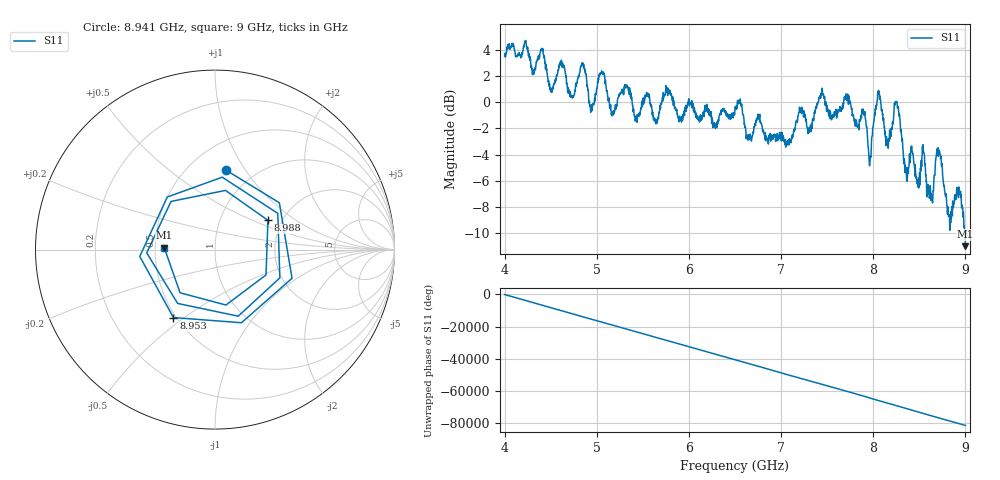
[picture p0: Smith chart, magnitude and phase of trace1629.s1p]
! Created with skrf 1.8.0 (http://scikit-rf.org).
# Hz S RI R 50.0
!freq ReS11 ImS11
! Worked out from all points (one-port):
!   1601 points, 4 GHz to 9 GHz, reference 50 ohm
!   lowest |S11| = -11.0 dB at 9 GHz (marker M1), VSWR 1.79, Z = 28 + j0.642 ohm
!   |S11| at or under -10 dB: 8.992355 GHz to end of sweep
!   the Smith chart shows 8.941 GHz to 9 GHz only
!   S11 on the Smith chart (normalised r, x): 8.941 GHz: 0.74, +0.82; 8.953 GHz: 0.48, -0.46; 8.988 GHz: 1.69, +0.62; 9 GHz: 0.56, +0.01
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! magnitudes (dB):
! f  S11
! 4 GHz  3.5
! 4.406 GHz  4.0
! 4.506 GHz  0.9
! 4.625 GHz  2.7
! 4.734 GHz  0.3
! 4.85 GHz  2.9
! 4.941 GHz  -0.2
! 5.053 GHz  2.4
! 5.162 GHz  -0.8
! 5.25 GHz  0.6
! 5.875 GHz  -0.9
! 6.5 GHz  -0.4
! 7.125 GHz  -2.7
! 7.434 GHz  0.7
! 7.75 GHz  0.0
! 7.962 GHz  -4.8
! 8.053 GHz  0.6
! 8.15 GHz  -3.1
! 8.253 GHz  0.0
! 8.375 GHz  -5.0
! 8.544 GHz  -3.7
! 8.622 GHz  -7.1
! 8.709 GHz  -3.6
! 8.822 GHz  -8.6
! 8.941 GHz  -7.0
! 8.953 GHz  -7.1
! 8.988 GHz  -9.4
! 9 GHz  -11.0
